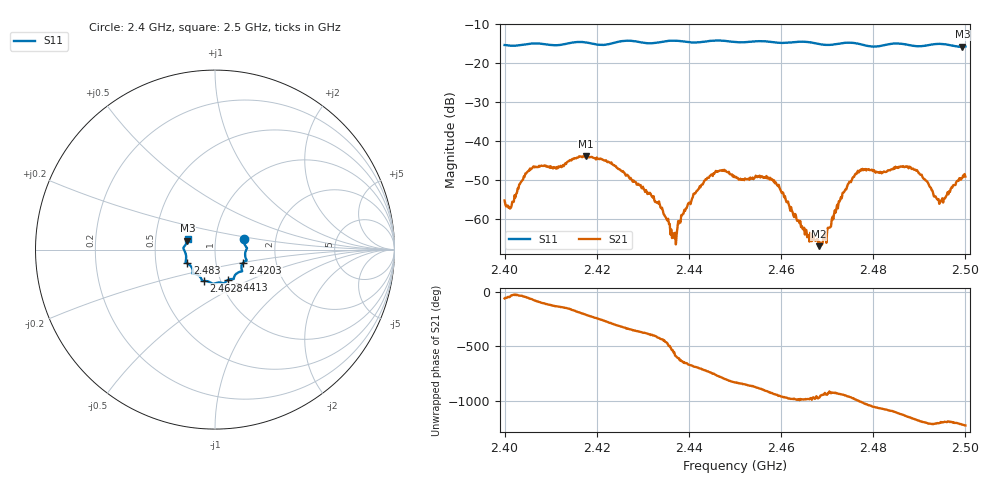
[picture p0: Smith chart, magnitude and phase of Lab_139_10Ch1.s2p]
# Hz S RI R 50
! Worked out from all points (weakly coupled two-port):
!   601 points, 2.4 GHz to 2.5 GHz, reference 50 ohm
!   highest |S21| = -43.77 dB at 2.4177 GHz (marker M1); lowest = -66.8 dB at 2.4682 GHz (marker M2)
!   lowest |S11| = -15.8 dB at 2.4993 GHz (marker M3), VSWR 1.39, Z = 36.5 + j3.72 ohm
!   |S11| at or under -10 dB: start of sweep to end of sweep
!   S12 and S22 are empty: the file has one direction only
!   S11 on the Smith chart (normalised r, x): 2.4 GHz: 1.37, +0.16; 2.4203 GHz: 1.35, -0.21; 2.4413 GHz: 1.09, -0.38; 2.4628 GHz: 0.83, -0.30; 2.483 GHz: 0.72, -0.11; 2.5 GHz: 0.73, +0.09
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2.4e9  0.1608 0.0571  0.000897 -0.0015  0 0  0 0
2.4015e9  0.1624 0.0407  0.00128 -0.000743  0 0  0 0
2.406e9  0.178 0.00998  0.00171 -0.00421  0 0  0 0
2.416667e9  0.1762 -0.0614  -0.00613 0.00172  0 0  0 0
2.417667e9  0.1729 -0.0627  -0.00558 0.00329  0 0  0 0
2.420333e9  0.1552 -0.074  -0.00233 0.00546  0 0  0 0
2.433333e9  0.1081 -0.1484  0.000781 -0.0014  0 0  0 0
2.436833e9  0.1036 -0.1639  -0.000556 0.00015  0 0  0 0
2.441333e9  0.0743 -0.1681  0.00181 0.00116  0 0  0 0
2.446167e9  0.0495 -0.1887  0.00265 -0.00319  0 0  0 0
2.45e9  0.0294 -0.1838  -0.00125 -0.00329  0 0  0 0
2.458e9  -0.0225 -0.1847  -0.0029 0.00154  0 0  0 0
2.462833e9  -0.0629 -0.1749  -0.000182 0.00106  0 0  0 0
2.466667e9  -0.0743 -0.1675  9.47e-08 0.000527  0 0  0 0
2.468167e9  -0.0792 -0.1572  -0.000137 0.000434  0 0  0 0
2.476167e9  -0.1248 -0.1295  -0.000228 0.00384  0 0  0 0
2.483e9  -0.1547 -0.0768  0.00412 -0.000131  0 0  0 0
2.483333e9  -0.157 -0.0758  0.00423 -0.000509  0 0  0 0
2.489167e9  -0.1607 -0.0391  -4.08e-05 -0.00433  0 0  0 0
2.494667e9  -0.176 0.00948  -0.000713 -0.00159  0 0  0 0
2.499333e9  -0.1542 0.0496  -0.00258 -0.0022  0 0  0 0
2.5e9  -0.1524 0.0586  -0.00294 -0.00197  0 0  0 0
